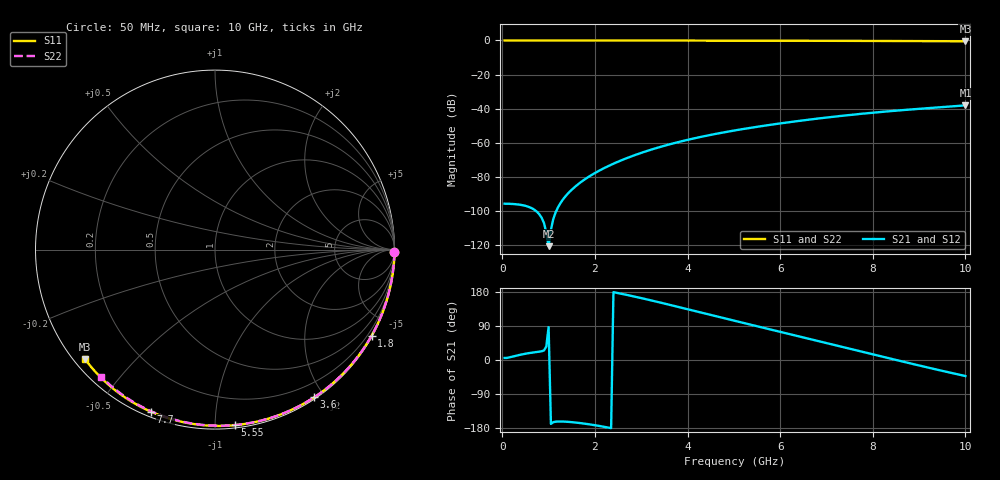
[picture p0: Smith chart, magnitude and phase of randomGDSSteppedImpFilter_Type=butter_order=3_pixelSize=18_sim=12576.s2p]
! freq	dB(S11)	phase(S11)	dB(S12)	phase(S12)
!  dB(S21)	phase(S21)	dB(S22)	phase(S22)
!S-par simulation data
#  GHz  S  DB  R 50
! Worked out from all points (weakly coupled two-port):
!   200 points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, 50 MHz to 10 GHz, reference 50 ohm
!   highest |S21| = -38.03 dB at 10 GHz (marker M1); lowest = -120.5 dB at 1 GHz (marker M2)
!   lowest |S11| = -0.5 dB at 10 GHz (marker M3), VSWR 36.80, Z = 1.54 - j18.2 ohm
!   |S11| at or under -10 dB: nowhere
!   |S22| runs from -0.4 to 0.0 dB; largest |S21 - S12| = 0
!   S11 on the Smith chart (normalised r, x): 50 MHz: open; 1.8 GHz: 0.03, -3.90; 3.6 GHz: 0.02, -1.88; 5.55 GHz: 0.02, -1.12; 7.7 GHz: 0.02, -0.68; 10 GHz: 0.03, -0.36
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0.05  -0.00 -0.8  -95.62 5.4  -95.62 5.4  -0.00 -0.8
0.5  -0.01 -8.1  -96.87 16.6  -96.87 16.6  -0.01 -7.6
1  -0.02 -16.1  -120.49 86.7  -120.49 86.7  -0.02 -15.1
1.75  -0.04 -28.0  -81.94 -167.5  -81.94 -167.5  -0.03 -26.3
1.8  -0.04 -28.7  -81.00 -168.4  -81.00 -168.4  -0.03 -27.0
1.85  -0.04 -29.5  -80.12 -169.2  -80.12 -169.2  -0.04 -27.7
2.05  -0.04 -32.6  -76.90 -173.1  -76.90 -173.1  -0.04 -30.7
2.25  -0.05 -35.7  -74.08 -177.4  -74.08 -177.4  -0.04 -33.6
2.65  -0.05 -41.9  -69.32 172.8  -69.32 172.8  -0.05 -39.4
3  -0.06 -47.2  -65.84 163.4  -65.84 163.4  -0.06 -44.4
3.4  -0.07 -53.2  -62.44 151.9  -62.44 151.9  -0.07 -50.0
3.6  -0.08 -56.1  -60.93 146.0  -60.93 146.0  -0.07 -52.8
3.9  -0.08 -60.5  -58.86 137.0  -58.86 137.0  -0.08 -57.0
4.3  -0.09 -66.3  -56.41 125.0  -56.41 125.0  -0.09 -62.4
5.05  -0.12 -76.8  -52.56 102.5  -52.56 102.5  -0.11 -72.4
5.55  -0.14 -83.7  -50.37 87.7  -50.37 87.7  -0.13 -78.9
6.1  -0.16 -91.0  -48.22 71.6  -48.22 71.6  -0.15 -85.9
6.7  -0.19 -98.9  -46.12 53.9  -46.12 53.9  -0.18 -93.3
7.7  -0.25 -111.6  -43.10 24.1  -43.10 24.1  -0.24 -105.3
8.35  -0.31 -119.7  -41.47 4.6  -41.47 4.6  -0.29 -113.0
9.2  -0.38 -130.2  -39.64 -20.2  -39.64 -20.2  -0.36 -122.7
10  -0.47 -139.9  -38.03 -42.4  -38.03 -42.4  -0.45 -131.8
